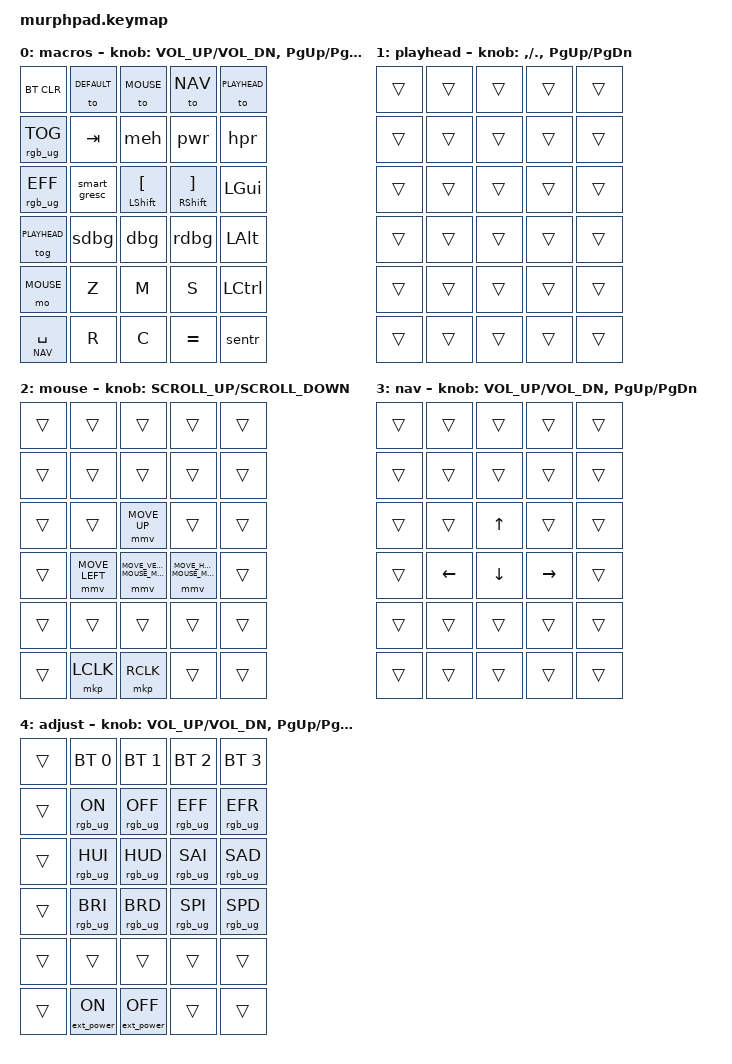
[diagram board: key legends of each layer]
/*
 * Copyright (c) 2021 The ZMK Contributors
 *
 * SPDX-License-Identifier: MIT
 */

#include <behaviors.dtsi>
#include <dt-bindings/zmk/keys.h>
#include <dt-bindings/zmk/bt.h>
#include <dt-bindings/zmk/rgb.h>
#include <dt-bindings/zmk/ext_power.h>
#include <dt-bindings/zmk/mouse.h>

#define DEFAULT    0
#define PLAYHEAD   1
#define MOUSE      2
#define NAV        3
#define ADJUST     4


#define TIMEOUT 300

&nice_view_spi {
    cs-gpios = <&gpio1 2 GPIO_ACTIVE_HIGH>;
};

&encoder_1 {
    status = "okay";
    steps = <80>;
};

&encoder_2 {
    status = "okay";
    steps = <80>; 
};

&mmv {
    time-to-max-speed-ms = <500>;
    acceleration-exponent=<1>;
    delay-ms = <0>; 
};

&mwh {
    acceleration-exponent=<0>;
    time-to-max-speed-ms = <1>;
    delay-ms = <0>; 
};

#define U_MOUSE_MOVE_MAX 3250
#define U_MOUSE_SCROLL_MAX 50

#undef MOVE_UP
#undef MOVE_DOWN
#undef MOVE_LEFT
#undef MOVE_RIGHT
#define MOVE_UP MOVE_VERT(-U_MOUSE_MOVE_MAX)
#define MOVE_DOWN MOVE_VERT(U_MOUSE_MOVE_MAX)
#define MOVE_LEFT MOVE_HOR(-U_MOUSE_MOVE_MAX)
#define MOVE_RIGHT MOVE_HOR(U_MOUSE_MOVE_MAX)

#undef SCROLL_UP
#undef SCROLL_DOWN
#undef SCROLL_LEFT
#undef SCROLL_RIGHT
#define SCROLL_UP SCROLL_VERT(U_MOUSE_SCROLL_MAX)
#define SCROLL_DOWN SCROLL_VERT(-U_MOUSE_SCROLL_MAX)
#define SCROLL_LEFT SCROLL_HOR(-U_MOUSE_SCROLL_MAX)
#define SCROLL_RIGHT SCROLL_HOR(U_MOUSE_SCROLL_MAX)

/ {
    sensors {
        compatible = "zmk,keymap-sensors";
        sensors = <&encoder_1 &encoder_2>;
        triggers-per-rotation = <20>;
    };
    behaviors {
        rot_mwh: behavior_sensor_rotate_kp {
            compatible = "zmk,behavior-sensor-rotate-var";
            label = "ENC_MWH";
            #sensor-binding-cells = <2>;
            bindings = <&mwh>, <&mwh>;
        };
        th: taphold {
            compatible = "zmk,behavior-hold-tap";
            label = "TAP HOLD";
            #binding-cells = <2>;
            tapping-term-ms = <180>;
            quick-tap-ms = <120>;
            flavor = "tap-preferred";
            bindings = <&kp>, <&kp>;
        };
        smart_gresc: smart_gresc {
            compatible = "zmk,behavior-mod-morph";
            label = "smart_gresc";
            #binding-cells = <0>;
            bindings = <&kp ESC>, <&sub_gresc>;
            mods = <(MOD_LGUI|MOD_LSFT)>;
            keep-mods = <(MOD_LGUI|MOD_LSFT)>;
        };
        sub_gresc: sub_gresc {
            compatible = "zmk,behavior-mod-morph";
            label = "sub_gresc";
            #binding-cells = <0>;
            bindings = <&kp GRAVE>, <&kp ESC>;
            mods = <(MOD_LALT|MOD_LCTL)>;
            keep-mods = <(MOD_LALT|MOD_LCTL)>;
        };
        slt: spacebar_layer_tap {
            compatible = "zmk,behavior-hold-tap";
            label = "SPACE_LAYER_TAP";
            #binding-cells = <2>;
            flavor = "tap-preferred";
            tapping-term-ms = <200>;
            quick-tap-ms = <125>;
            global-quick-tap;
            bindings = <&mo>, <&kp>;
        };
        tnpt: tab_numpad_tap {
            compatible = "zmk,behavior-hold-tap";
            label = "TAB_NUMPAD_TAP";
            #binding-cells = <2>;
            flavor = "tap-preferred";
            tapping-term-ms = <200>;
            quick-tap-ms = <135>;
            global-quick-tap;
            bindings = <&mo>, <&kp>;
        };
    };
    macros {
        hpr: hyper {
            label = "hyper";
            compatible = "zmk,behavior-macro";
            #binding-cells = <0>;
            wait-ms = <0>;
            bindings
                = <&macro_press &kp LSHFT &kp LCTRL &kp LALT &kp LGUI>
                , <&macro_pause_for_release>
                , <&macro_release &kp LSHFT &kp LCTRL &kp LALT &kp LGUI>
                ;
        };
        pwr: powerclaw {
            label = "powerclaw";
            compatible = "zmk,behavior-macro";
            #binding-cells = <0>;
            wait-ms = <0>;
            bindings
                = <&macro_press &kp LCTRL &kp LALT &kp LGUI>
                , <&macro_pause_for_release>
                , <&macro_release &kp LCTRL &kp LALT &kp LGUI>
                ;
        };
        meh: meh {
            label = "meh";
            compatible = "zmk,behavior-macro";
            #binding-cells = <0>;
            wait-ms = <0>;
            bindings
                = <&macro_press &kp LSHFT &kp LCTRL &kp LALT &kp LGUI>
                , <&macro_pause_for_release>
                , <&macro_release &kp LSHFT &kp LCTRL &kp LALT &kp LGUI>
                ;
        };
        dbg: vscode_debug {
            label = "vscode_debug";
            compatible = "zmk,behavior-macro";
            #binding-cells = <0>;
            wait-ms = <0>;
            bindings
                = <&macro_tap &kp F5>
                ;
        };
        rdbg: restart_debug {
            label = "restart_debug";
            compatible = "zmk,behavior-macro";
            #binding-cells = <0>;
            wait-ms = <0>;
            bindings
                = <&macro_press &kp LSHFT &kp LGUI>
                , <&macro_tap &kp F5>
                , <&macro_release &kp LSHFT &kp LGUI>
                ;
        };
        sdbg: stop_debug {
            label = "stop_debug";
            compatible = "zmk,behavior-macro";
            #binding-cells = <0>;
            wait-ms = <0>;
            bindings
                = <&macro_press &kp LSHFT>
                , <&macro_tap &kp F5>
                , <&macro_release &kp LSHFT>
                ;
        };
        vsterm: vscode_terminal {
            label = "vscode_terminal";
            compatible = "zmk,behavior-macro";
            #binding-cells = <0>;
            wait-ms = <0>;
            bindings
                = <&macro_press &kp LCTRL>
                , <&macro_tap &kp GRAVE>
                , <&macro_release &kp LCTRL>
                ;
        };
        sentr: shift_enter {
            label = "shift_enter";
            compatible = "zmk,behavior-macro";
            #binding-cells = <0>;
            wait-ms = <0>;
            bindings
                = <&macro_press &kp LSHFT>
                , <&macro_tap &kp ENTER>
                , <&macro_release &kp LSHFT>
                ;
        };
    };
    combos {
        compatible = "zmk,combos";
        combo_btclr {
            timeout-ms = <TIMEOUT>;
            key-positions = <1 6>;
            bindings = <&bt BT_CLR>;
        };
        combo_reset {
            timeout-ms = <TIMEOUT>;
            key-positions = <1 3>;
            bindings = <&sys_reset>;
        };
        combo_bootloader {
            timeout-ms = <TIMEOUT>;
            key-positions = <1 2>;
            bindings = <&bootloader>;
        };
        /* combo_bt_nxt {
            timeout-ms = <TIMEOUT>;
            key-positions = <1 4>;
            bindings = <&bt BT_NXT>;
        }; */
        /* combo_rgb_tog {
            timeout-ms = <TIMEOUT>;
            key-positions = <1 4>;
            bindings = <&rgb_ug RGB_TOG>;
        }; */
        /* combo_extpr_off {
            timeout-ms = <TIMEOUT>;
            key-positions = <1 4>;
            bindings = <&ext_power EP_OFF>;
        }; */
        combo_adj_layer {
            timeout-ms = <TIMEOUT>;
            key-positions = <1 4>;
            bindings = <&to ADJUST>;
        };
    };

    keymap0: keymap {
        compatible = "zmk,keymap";

        default_layer {
            label = "macros";
            bindings = <
                &bt BT_CLR       &to DEFAULT  &to MOUSE       &to NAV           &to PLAYHEAD

                &rgb_ug RGB_TOG  &kp TAB      &meh            &pwr              &hpr
                &rgb_ug RGB_EFF  &smart_gresc &mt LSHFT LBKT  &mt RSHFT RBKT    &kp LGUI
                &tog PLAYHEAD    &sdbg        &dbg            &rdbg             &kp LALT
                &mo MOUSE        &kp Z        &kp M           &kp S             &kp LCTRL
                &slt NAV SPACE   &kp R        &kp C           &kp EQUAL         &sentr
            >;
            sensor-bindings = <&inc_dec_kp C_VOL_UP C_VOL_DN &inc_dec_kp PG_UP PG_DN>;
        };

        playhead_layer {
            label = "playhead";
            bindings = <
                &trans      &trans     &trans        &trans          &trans

                &trans      &trans     &trans        &trans          &trans
                &trans      &trans     &trans        &trans          &trans
                &trans      &trans     &trans        &trans          &trans
                &trans      &trans     &trans        &trans          &trans
                &trans      &trans     &trans        &trans          &trans
            >;
            sensor-bindings = <&inc_dec_kp COMMA DOT &inc_dec_kp PG_UP PG_DN>;
        };

        mouse_layer {
            label = "mouse";
            bindings = <
                &trans         &trans         &trans            &trans          &trans

                &trans         &trans         &trans            &trans             &trans
                &trans         &trans         &mmv MOVE_UP      &trans             &trans
                &trans         &mmv MOVE_LEFT &mmv MOVE_DOWN    &mmv MOVE_RIGHT    &trans
                &trans         &trans         &trans            &trans             &trans
                &trans         &mkp LCLK      &mkp RCLK         &trans             &trans
            >;
            sensor-bindings = <&rot_mwh SCROLL_UP SCROLL_DOWN>;
        };

        nav_layer {
            label = "nav";
            bindings = <
                &trans      &trans     &trans        &trans          &trans
                
                &trans      &trans     &trans        &trans          &trans
                &trans      &trans     &kp UP        &trans          &trans
                &trans      &kp LEFT   &kp DOWN      &kp RIGHT       &trans
                &trans      &trans     &trans        &trans          &trans
                &trans      &trans     &trans        &trans          &trans
            >;
            sensor-bindings = <&inc_dec_kp C_VOL_UP C_VOL_DN &inc_dec_kp PG_UP PG_DN>;
        };

        adjust_layer {
            label = "adjust";
            bindings = <
                &trans      &bt BT_SEL 0     &bt BT_SEL 1      &bt BT_SEL 2 &bt BT_SEL 3
                
                &trans      &rgb_ug RGB_ON   &rgb_ug RGB_OFF   &rgb_ug RGB_EFF &rgb_ug RGB_EFR
                &trans      &rgb_ug RGB_HUI  &rgb_ug RGB_HUD   &rgb_ug RGB_SAI &rgb_ug RGB_SAD
                &trans      &rgb_ug RGB_BRI  &rgb_ug RGB_BRD   &rgb_ug RGB_SPI &rgb_ug RGB_SPD
                &trans      &trans          &trans             &trans          &trans
                &trans      &ext_power EP_ON &ext_power EP_OFF &trans          &trans
            >;
            sensor-bindings = <&inc_dec_kp C_VOL_UP C_VOL_DN &inc_dec_kp PG_UP PG_DN>;
        };
    };
};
